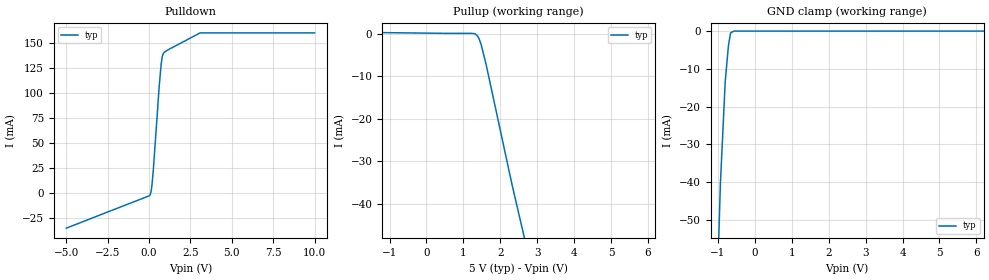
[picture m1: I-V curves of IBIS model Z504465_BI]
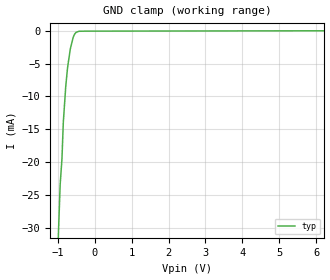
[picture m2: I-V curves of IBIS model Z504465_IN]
| YOU ARE ONLY AUTHORIZED TO USE THIS SOFTWARE
| ACCORDING TO LICENSOR'S LICENSE RESTRICTIONS.
[IBIS Ver] 3.1
[File Name] sn54ls623j.ibs
[File Rev] 2.0
[Source] Measured and created by ICX Technology
[Date] Friday 7/14/00 9:08:15 AM
[Copyright]
| (C) COPYRIGHT 1993-2000
| MENTOR GRAPHICS CORPORATION
| ICX STANDARD LIBRARY, ICX PROJECT MODELING,
| ICX CUSTOM MODELING, ICX VENDOR MODEL
| ALL RIGHTS RESERVED.
| THE FOLLOWING ARE TRADEMARKS OR SERVICE MARKS OF
| MENTOR GRAPHICS CORPORATION:ICX (R), ICX STANDARD
| LIBRARY(R), ICX PROJECT MODELING(R), ICX CUSTOM
| MODELING(R), qualityIBIS(TM), MODELVIEWER(TM),
| AND MODELEDITOR(TM)
| ALL COPIES OF SOFTWARE, INCLUDING BUT NOT LIMITED TO
| ANY MODIFICATIONS, ENHANCEMENTS OR DERIVATIVE WORKS,
| MUST CONTAIN ALL MENTOR GRAPHICS CORPORATION'S
| NOTICES AND LEGENDS, INCLUDING THOSE EMBEDDED IN
| SOFTWARE AND THOSE AFFIXED TO SOFTWARE MEDIUM
| AND CONTAINER, AS RECEIVED FROM MENTOR GRAPHICS
| CORPORATION.
|  ZAP Model Builder 2.7
[Component] SN54LS623J
[Manufacturer] OnSemiconductor
[Package]
| variable   typ   min   max
R_pkg  .216ohms NA NA
L_pkg  5.76nH NA NA
C_pkg  2.193pF NA NA
[Pin] signal_name  model_name  R_pin  L_pin C_pin
1 GAB Z504465_IN .232 9.76n 3.179p
2 A0 Z504465_BI .224 7.26n 2.686p
3 A1 Z504465_BI .216 5.26n 2.193p
4 A2 Z504465_BI .208 3.76n 1.7p
5 A3 Z504465_BI .2 2.76n 1.207p
6 A4 Z504465_BI .2 2.76n 1.207p
7 A5 Z504465_BI .208 3.76n 1.7p
8 A6 Z504465_BI .216 5.26n 2.193p
9 A7 Z504465_BI .224 7.26n 2.686p
10 GND GND .232 9.76n 3.179p
11 B7 Z504465_BI .232 9.76n 3.179p
12 B6 Z504465_BI .224 7.26n 2.686p
13 B5 Z504465_BI .216 5.26n 2.193p
14 B4 Z504465_BI .208 3.76n 1.7p
15 B3 Z504465_BI .2 2.76n 1.207p
16 B2 Z504465_BI .2 2.76n 1.207p
17 B1 Z504465_BI .208 3.76n 1.7p
18 B0 Z504465_BI .216 5.26n 2.193p
19 _GBA Z504465_IN .224 7.26n 2.686p
20 VCC POWER .232 9.76n 3.179p
| Models and submodels in the file (2): Z504465_BI (I/O), Z504465_IN (Input)
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| (C) COPYRIGHT 1993-2000
| MENTOR GRAPHICS CORPORATION
| ICX STANDARD LIBRARY, ICX PROJECT MODELING,
| ICX CUSTOM MODELING, ICX VENDOR MODEL
| ALL RIGHTS RESERVED.
| THE FOLLOWING ARE TRADEMARKS OR SERVICE MARKS OF
| MENTOR GRAPHICS CORPORATION:ICX (R), ICX STANDARD
| LIBRARY(R), ICX PROJECT MODELING(R), ICX CUSTOM
| MODELING(R), qualityIBIS(TM), MODELVIEWER(TM),
| AND MODELEDITOR(TM)
| ALL COPIES OF SOFTWARE, INCLUDING BUT NOT LIMITED TO
| ANY MODIFICATIONS, ENHANCEMENTS OR DERIVATIVE WORKS,
| MUST CONTAIN ALL MENTOR GRAPHICS CORPORATION'S
| NOTICES AND LEGENDS, INCLUDING THOSE EMBEDDED IN
| SOFTWARE AND THOSE AFFIXED TO SOFTWARE MEDIUM
| AND CONTAINER, AS RECEIVED FROM MENTOR GRAPHICS
| CORPORATION.
| Model Application Version 1.89 2/18/99.
[Model] Z504465_BI
Model_type I/O
Vinl=800.0mV
Vinh=2.000V
Vref=588.0mV
Rref=588.5ohms
Cref=45.00pF
Vmeas=1.300V
C_comp 8.000pF NA NA
| variable typ   min   max
[Voltage Range] 5.000V NA NA
[POWER Clamp Reference] 5.000V NA NA
[Pullup Reference] 5.000V NA NA
[Pulldown Reference] 0.000V NA NA
[GND Clamp Reference] 0.000V NA NA
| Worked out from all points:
|   slope of the pulldown table from 0 to 0.75 V, typ, clamps not added: 5.65 ohm
|   slope of the pullup table from 0 to 0.75 V, typ, clamps not added: 13.3 kohm
|   GND clamp passes 1 mA (typ) near -0.67 V on its own axis
[GND Clamp]
-5V       -1.841A    NA         NA
-1.053V   -79.2mA    NA         NA
-934.1mV  -40.53mA   NA         NA
-804.1mV  -13.52mA   NA         NA
-717.7mV  -3.991mA   NA         NA
-658.7mV  -478.8uA   NA         NA
-564.6mV  0A         NA         NA
10V       0A         NA         NA
[Pulldown]
-5V       -34.63mA   NA         NA
69.58mV   -1.429mA   NA         NA
130.1mV   2.098mA    NA         NA
180.7mV   8.65mA     NA         NA
263.2mV   24.16mA    NA         NA
611.6mV   105.7mA    NA         NA
727.6mV   127.6mA    NA         NA
796.5mV   135.9mA    NA         NA
839.8mV   138.3mA    NA         NA
991.4mV   141.2mA    NA         NA
3.086V    159.6mA    NA         NA
10V       159.6mA    NA         NA
[Pullup]
-5V       713.8uA    NA         NA
555.5mV   148.4uA    NA         NA
1.203V    148.4uA    NA         NA
1.279V    116.6uA    NA         NA
1.324V    -9.664uA   NA         NA
1.382V    -495.5uA   NA         NA
1.421V    -1.043mA   NA         NA
1.479V    -2.46mA    NA         NA
1.615V    -7.191mA   NA         NA
2.318V    -35.57mA   NA         NA
10V       -322.9mA   NA         NA
[POWER Clamp]
-5V       0A         NA         NA
10V       0A         NA         NA
[Ramp]
| variable typ min max
dV/dt_r 1.983/5.711n NA NA
dV/dt_f 1.983/1.694n NA NA
R_load = 500.0Ohms
| (C) COPYRIGHT 1993-2000
| MENTOR GRAPHICS CORPORATION
| ICX STANDARD LIBRARY, ICX PROJECT MODELING,
| ICX CUSTOM MODELING, ICX VENDOR MODEL
| ALL RIGHTS RESERVED.
| THE FOLLOWING ARE TRADEMARKS OR SERVICE MARKS OF
| MENTOR GRAPHICS CORPORATION:ICX (R), ICX STANDARD
| LIBRARY(R), ICX PROJECT MODELING(R), ICX CUSTOM
| MODELING(R), qualityIBIS(TM), MODELVIEWER(TM),
| AND MODELEDITOR(TM)
| ALL COPIES OF SOFTWARE, INCLUDING BUT NOT LIMITED TO
| ANY MODIFICATIONS, ENHANCEMENTS OR DERIVATIVE WORKS,
| MUST CONTAIN ALL MENTOR GRAPHICS CORPORATION'S
| NOTICES AND LEGENDS, INCLUDING THOSE EMBEDDED IN
| SOFTWARE AND THOSE AFFIXED TO SOFTWARE MEDIUM
| AND CONTAINER, AS RECEIVED FROM MENTOR GRAPHICS
| CORPORATION.
| Model Application Version 1.89 2/18/99.
[Model] Z504465_IN
Model_type Input
Vinl = 800.0mV
Vinh = 2.000V
C_comp 4.000pF NA NA
| variable typ   min   max
[Voltage Range] 5.000V NA NA
[GND Clamp Reference] 0.000V NA NA
[POWER Clamp Reference] 5.000V NA NA
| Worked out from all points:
|   GND clamp passes 1 mA (typ) near -0.58 V on its own axis
[GND Clamp]
-5V       -667.3mA   NA         NA
-932.1mV  -23.4mA    NA         NA
-883.7mV  -19.47mA   NA         NA
-847.3mV  -13.95mA   NA         NA
-781.2mV  -8.456mA   NA         NA
-732.4mV  -5.613mA   NA         NA
-658.6mV  -2.781mA   NA         NA
-579.2mV  -973.4uA   NA         NA
-545.2mV  -526uA     NA         NA
-503.1mV  -243.2uA   NA         NA
-428.5mV  -68.22uA   NA         NA
10V       39.53uA    NA         NA
[POWER Clamp]
-5V       0A         NA         NA
10V       0A         NA         NA
